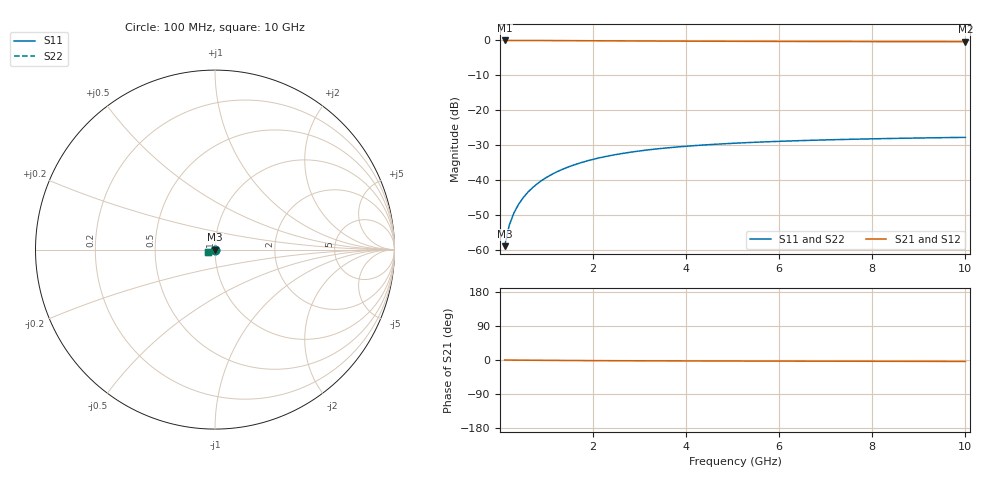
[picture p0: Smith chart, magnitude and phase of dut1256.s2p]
! Touchstone file exported from HFSS 2024.1.0
!  File:  C:/UserFiles/LocalFiles/RDL_TSV_Batchsim/temp_TSV1_1256_1780253091.aedt
!  Generated:  02:50:54 AM Jun  1, 2026
!  Design:  TSV1
!  Project:  temp_TSV1_1256_1780253091
!  Setup:  Setup1
!  Solution:  Sweep
! Variables:
!  dtsv = 13.02um
!  hbump = 3um
!  htsv = 55.95um
!  lrdl = 252.1521522um
!  p = 40
!  p1 = 46.98um
!  t = 500um
!  trdl = 3um
!  wrdl = 24.89489489um
# GHz S MA R 50.000000
! Terminal data exported
! Port[1] = TSV22_T1
! Port[2] = TSV22_T2
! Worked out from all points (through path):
!   100 points, 100 MHz to 10 GHz, reference 50 ohm
!   highest |S21| = 0.00 dB at 100 MHz (marker M1); lowest = -0.4 dB at 10 GHz (marker M2)
!   lowest |S11| = -58.9 dB at 100 MHz (marker M3), VSWR 1.00, Z = 50 - j0.113 ohm
!   |S11| at or under -10 dB: start of sweep to end of sweep
!   |S22| runs from -58.9 to -27.8 dB; largest |S21 - S12| = 4e-15
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0.1  0.001132 -87.9  0.9999 -0.1  0.9999 -0.1  0.001132 -87.9
! Gamma 0 0 0 0
! Port Impedance 50 0 50 0
0.2  0.002259 -91.5  0.9998 -0.2  0.9998 -0.2  0.002259 -91.5
0.3  0.003383 -93.8  0.9996 -0.3  0.9996 -0.3  0.003383 -93.8
0.4  0.004501 -95.7  0.9994 -0.4  0.9994 -0.4  0.004501 -95.7
0.5  0.00561 -97.5  0.9991 -0.5  0.9991 -0.5  0.00561 -97.5
0.6  0.006707 -99.3  0.9987 -0.6  0.9987 -0.6  0.006707 -99.3
0.7  0.00779 -100.9  0.9983 -0.7  0.9983 -0.7  0.00779 -100.9
0.8  0.008856 -102.5  0.9979 -0.8  0.9979 -0.8  0.008856 -102.5
0.9  0.009902 -104.1  0.9973 -0.8  0.9973 -0.8  0.009902 -104.1
1.1  0.01193 -107.2  0.9962 -1.0  0.9962 -1.0  0.01193 -107.2
1.4  0.01479 -111.5  0.9943 -1.2  0.9943 -1.2  0.01479 -111.5
1.6  0.01657 -114.2  0.9929 -1.4  0.9929 -1.4  0.01657 -114.2
1.8  0.01824 -116.9  0.9915 -1.5  0.9915 -1.5  0.01824 -116.9
2.1  0.02055 -120.5  0.9893 -1.7  0.9893 -1.7  0.02055 -120.5
2.5  0.02327 -125.0  0.9864 -1.9  0.9864 -1.9  0.02327 -125.0
2.9  0.02561 -129.1  0.9837 -2.1  0.9837 -2.1  0.02561 -129.1
3.4  0.02809 -133.5  0.9805 -2.2  0.9805 -2.2  0.02809 -133.5
4.2  0.03124 -139.5  0.9761 -2.5  0.9761 -2.5  0.03124 -139.5
5.1  0.03389 -145.0  0.9721 -2.7  0.9721 -2.7  0.03389 -145.0
6.7  0.03717 -152.4  0.9667 -3.1  0.9667 -3.1  0.03717 -152.4
8.4  0.03946 -158.4  0.9629 -3.5  0.9629 -3.5  0.03946 -158.4
10  0.04095 -162.9  0.9603 -3.8  0.9603 -3.8  0.04095 -162.9
